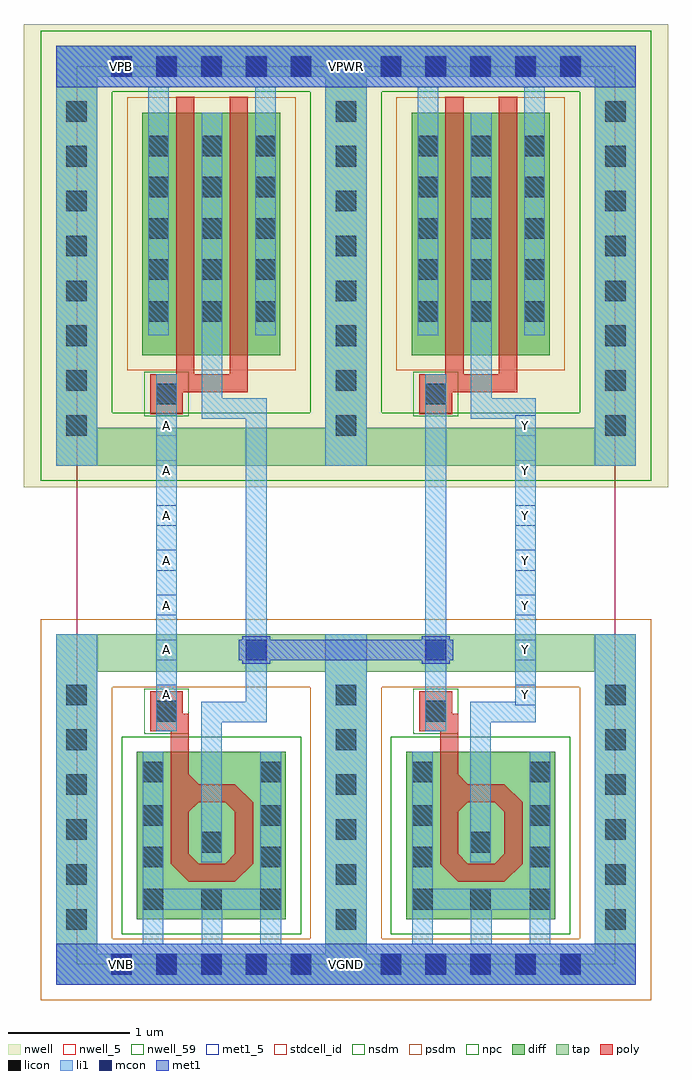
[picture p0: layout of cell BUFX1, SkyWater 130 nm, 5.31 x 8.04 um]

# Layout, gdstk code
from math import pi, radians
import gdstk
lib = gdstk.Library(unit=1e-6, precision=1e-09)
def R(c, l, rs):  # rectangles x0, y0, x1, y1
    for r in rs: c.add(gdstk.rectangle(r[:2], r[2:], *l))
def A(c, l, x, y, w, h, nx, ny, dx, dy):  # array of equal rectangles
    R(c, l, [(x+i*dx, y+j*dy, x+i*dx+w, y+j*dy+h) for i in range(nx) for j in range(ny)])
def P(c, l, *ps):  # polygons
    for p in ps: c.add(gdstk.Polygon(p, *l))
nwell_5 = (64, 5)
nwell = (64, 20)
nwell_59 = (64, 59)
diff = (65, 20)
tap = (65, 44)
poly = (66, 20)
licon = (66, 44)
li1 = (67, 20)
mcon = (67, 44)
met1_5 = (68, 5)
met1 = (68, 20)
stdcell_id = (81, 4)
nsdm = (93, 44)
psdm = (94, 20)
npc = (95, 20)

li1_m1_contact = lib.new_cell('li1_M1_contact')
R(li1_m1_contact, li1, [(-0.085,-0.165,0.085,0.165)])
R(li1_m1_contact, mcon, [(-0.085,-0.085,0.085,0.085)])
R(li1_m1_contact, met1, [(-0.115,-0.115,0.115,-0.085), (-0.265,-0.085,0.145,0.085), (-0.115,0.085,0.115,0.115)])

poly_li1_contact = lib.new_cell('poly_li1_contact')
R(poly_li1_contact, poly, [(-0.16,-0.14,0.17,0.13)])
R(poly_li1_contact, licon, [(-0.08,-0.09,0.09,0.08)])
R(poly_li1_contact, li1, [(-0.16,-0.09,0.17,0.08)])
R(poly_li1_contact, npc, [(-0.18,-0.19,0.19,0.18)])

pmos2 = lib.new_cell('pmos2')
R(pmos2, nwell, [(0.26,-2.18,1.76,0.18)])
R(pmos2, diff, [(0.44,-2,1.58,0)])
R(pmos2, poly, [(0.72,-2.305,1.31,-2.155), (0.72,-2.155,0.87,0.13), (1.16,-2.155,1.31,0.13)])
A(pmos2, licon, 0.49, -1.38, 0.17, 0.17, 3, 4, 0.44, 0.34)
R(pmos2, li1, [(0.49,-1.465,0.66,0.21), (0.93,-1.465,1.1,0), (1.37,-1.465,1.54,0.21)])
R(pmos2, psdm, [(0.315,-2.125,1.705,0.125)])

nmos_top = lib.new_cell('nmos_top')
R(nmos_top, diff, [(0,0,1.23,1.38)])
R(nmos_top, poly, [(0.42,0.31,0.8,0.46), (0.27,0.46,0.42,0.965), (0.8,0.46,0.95,0.965), (0.42,0.965,0.95,1.115), (0.8,1.115,0.95,1.54)])
P(nmos_top, poly, [(0.72,1.115),(0.8,1.115),(0.8,1.195)],
  [(0.27,0.965),(0.42,0.965),(0.42,1.115)],
  [(0.42,0.885),(0.42,0.965),(0.5,0.965)],
  [(0.72,0.965),(0.8,0.965),(0.8,0.885)],
  [(0.42,0.54),(0.42,0.46),(0.5,0.46)],
  [(0.72,0.46),(0.8,0.46),(0.8,0.54)],
  [(0.27,0.46),(0.42,0.46),(0.42,0.31)],
  [(0.8,0.31),(0.8,0.46),(0.95,0.46)])
R(nmos_top, licon, [(0.04,0.08,0.21,0.25), (0.53,0.08,0.7,0.25), (1.01,0.08,1.18,0.25), (0.04,0.43,0.21,0.6), (1.01,0.43,1.18,0.6), (0.53,0.55,0.7,0.72), (0.04,0.77,0.21,0.94), (1.01,0.77,1.18,0.94), (0.04,1.13,0.21,1.3), (1.01,1.13,1.18,1.3)])
R(nmos_top, li1, [(0.04,0,0.21,0.08), (1.01,0,1.18,0.08), (0.04,0.08,1.18,0.25), (0.04,0.25,0.21,1.38), (1.01,0.25,1.18,1.38), (0.53,0.47,0.7,0.805)])
R(nmos_top, nsdm, [(-0.125,-0.125,1.355,1.505)])

diff_ring_side = lib.new_cell('diff_ring_side')
R(diff_ring_side, nwell, [(-0.435,3.93,0.435,7.75)])
R(diff_ring_side, tap, [(-0.17,-0.17,0.17,2.72), (-0.17,4.11,0.17,7.57)])
A(diff_ring_side, licon, -0.085, 0.285, 0.17, 0.17, 1, 6, 0, 0.37)
A(diff_ring_side, licon, -0.085, 4.355, 0.17, 0.17, 1, 8, 0, 0.37)
R(diff_ring_side, li1, [(-0.17,-0.17,0.17,2.72), (-0.17,4.11,0.17,7.57)])
R(diff_ring_side, met1, [(-0.17,-0.17,0.17,0.17), (-0.17,7.23,0.17,7.57)])
R(diff_ring_side, nsdm, [(-0.295,3.985,0.295,7.695)])
R(diff_ring_side, psdm, [(-0.295,-0.295,0.295,2.845)])

invx1_pcell = lib.new_cell('invx1_pcell')
R(invx1_pcell, nwell, [(-0.435,3.93,2.655,7.75)])
A(invx1_pcell, diff, 0.59, 5.295, 0.17, 0.17, 3, 1, 0.44, 0)
R(invx1_pcell, tap, [(0.17,-0.17,2.05,0.085), (0.17,2.41,2.05,2.72), (0.17,4.11,2.05,4.42), (0.17,7.315,2.05,7.57)])
R(invx1_pcell, poly, [(0.775,1.905,0.925,2.065)])
A(invx1_pcell, licon, 0.285, -0.085, 0.17, 0.17, 5, 2, 0.37, 7.4)
A(invx1_pcell, licon, 0.59, 5.295, 0.17, 0.17, 3, 1, 0.44, 0)
R(invx1_pcell, li1, [(0.17,-0.17,2.05,0.17), (0.545,0.17,0.715,0.45), (1.03,0.17,1.2,0.455), (1.515,0.17,1.685,0.45), (1.025,1.165,1.195,1.995), (1.025,1.995,1.565,2.165), (1.395,2.165,1.565,4.495), (0.655,2.245,0.825,4.54), (1.03,4.495,1.565,4.665), (1.03,4.665,1.2,5.555), (0.59,5.185,0.76,5.555), (1.47,5.185,1.64,5.555), (0.17,7.23,2.05,7.57)])
A(invx1_pcell, mcon, 0.285, -0.085, 0.17, 0.17, 5, 2, 0.37, 7.4)
R(invx1_pcell, met1, [(0.17,-0.17,2.05,0.17), (0.17,7.23,2.05,7.57)])
R(invx1_pcell, nsdm, [(0.045,3.985,2.175,4.545), (0.045,7.19,2.175,7.695)])
R(invx1_pcell, psdm, [(0.045,-0.295,2.175,0.21), (0.045,2.285,2.175,2.845), (0.465,5.17,1.765,5.59)])
invx1_pcell.add(gdstk.Reference(poly_li1_contact, (0.735,2.08), rotation=pi/2))
invx1_pcell.add(gdstk.Reference(poly_li1_contact, (0.745,4.705), rotation=3*pi/2))
invx1_pcell.add(gdstk.Reference(pmos2, (0.1,7.02)))
invx1_pcell.add(gdstk.Reference(nmos_top, (1.725,0.37), rotation=pi, x_reflection=True))
invx1_pcell.add(gdstk.Reference(diff_ring_side, (0,0)))
invx1_pcell.add(gdstk.Reference(diff_ring_side, (2.22,0)))

bufx1 = lib.new_cell('bufx1')
R(bufx1, met1, [(1.575,2.505,2.845,2.675)])
bufx1.add(gdstk.Reference(li1_m1_contact, (2.96,2.59)))
bufx1.add(gdstk.Reference(li1_m1_contact, (1.48,2.59), rotation=pi))
bufx1.add(gdstk.Reference(invx1_pcell, (2.22,0)))
bufx1.add(gdstk.Reference(invx1_pcell, (0,0)))

c_bufx1 = lib.new_cell('BUFX1')
R(c_bufx1, nwell_5, [(0.285,7.315,0.455,7.485)])
R(c_bufx1, nwell, [(0.285,7.315,0.455,7.485)])
R(c_bufx1, nwell_59, [(0.285,-0.085,0.455,0.085)])
A(c_bufx1, li1, 0.655, 2.135, 0.17, 0.17, 1, 7, 0, 0.37)
A(c_bufx1, li1, 3.615, 2.135, 0.17, 0.17, 1, 7, 0, 0.37)
A(c_bufx1, met1_5, 0.655, 2.135, 0.17, 0.17, 1, 7, 0, 0.37)
A(c_bufx1, met1_5, 3.615, 2.135, 0.17, 0.17, 1, 7, 0, 0.37)
R(c_bufx1, met1_5, [(-0.17,-0.17,4.61,0.17), (-0.17,7.23,4.61,7.57)])
R(c_bufx1, met1, [(-0.17,-0.17,4.61,0.17), (-0.17,7.23,4.61,7.57)])
R(c_bufx1, stdcell_id, [(0,0,4.44,7.4)])
c_bufx1.add(gdstk.Reference(bufx1, (0,0)))
c_bufx1.add(gdstk.Label('Y', (3.7,2.22), layer=68, texttype=5))
c_bufx1.add(gdstk.Label('Y', (3.7,2.59), layer=68, texttype=5))
c_bufx1.add(gdstk.Label('Y', (3.7,2.96), layer=68, texttype=5))
c_bufx1.add(gdstk.Label('Y', (3.7,3.33), layer=68, texttype=5))
c_bufx1.add(gdstk.Label('Y', (3.7,3.7), layer=68, texttype=5))
c_bufx1.add(gdstk.Label('Y', (3.7,4.07), layer=68, texttype=5))
c_bufx1.add(gdstk.Label('Y', (3.7,4.44), layer=68, texttype=5))
c_bufx1.add(gdstk.Label('A', (0.74,2.22), layer=68, texttype=5))
c_bufx1.add(gdstk.Label('A', (0.74,2.59), layer=68, texttype=5))
c_bufx1.add(gdstk.Label('A', (0.74,2.96), layer=68, texttype=5))
c_bufx1.add(gdstk.Label('A', (0.74,3.33), layer=68, texttype=5))
c_bufx1.add(gdstk.Label('A', (0.74,3.7), layer=68, texttype=5))
c_bufx1.add(gdstk.Label('A', (0.74,4.07), layer=68, texttype=5))
c_bufx1.add(gdstk.Label('A', (0.74,4.44), layer=68, texttype=5))
c_bufx1.add(gdstk.Label('VPWR', (2.22,7.4), layer=68, texttype=5))
c_bufx1.add(gdstk.Label('VGND', (2.22,0), layer=68, texttype=5))
c_bufx1.add(gdstk.Label('VPB', (0.37,7.4), layer=64, texttype=5))
c_bufx1.add(gdstk.Label('VNB', (0.37,0), layer=64, texttype=59))

lib.write_gds('BUFX1.gds')
